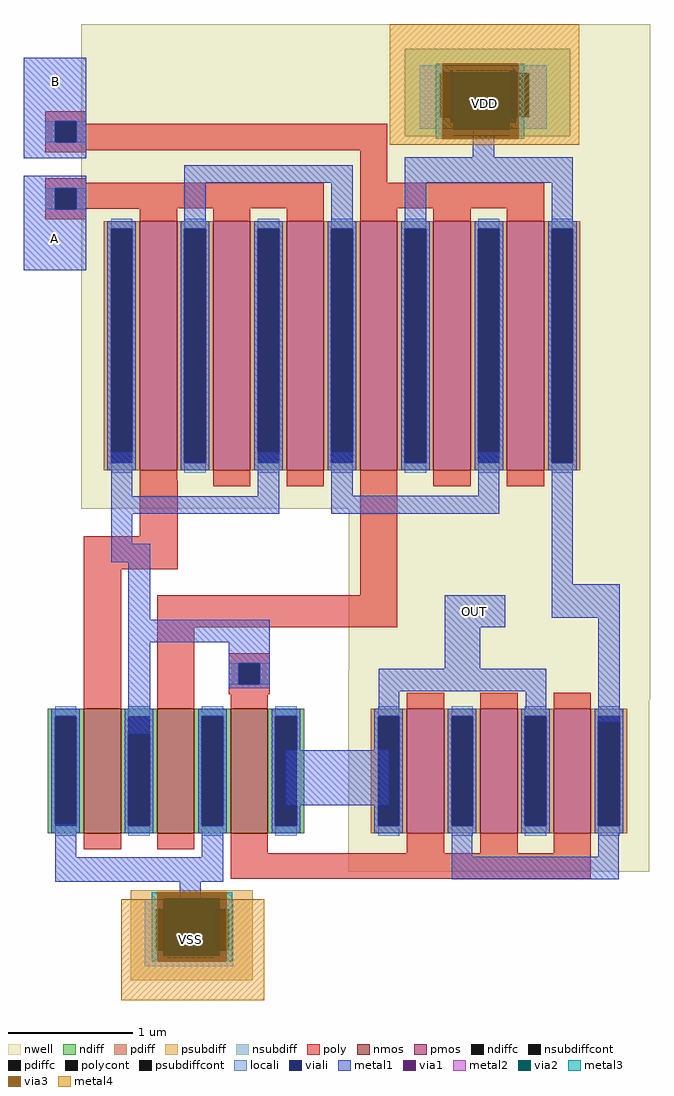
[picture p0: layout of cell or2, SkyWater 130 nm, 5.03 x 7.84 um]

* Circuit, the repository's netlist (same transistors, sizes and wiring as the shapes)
** sch_path: /mnt/c/Users/DRC/Desktop/elec/4th/4th_fall/elec451/final_project/design/xschem/or2.sch
.subckt or2 A B VSS VDD OUT
*.PININFO A:I B:I VSS:B VDD:B OUT:O
XM3 net1 A net2 VDD sky130_fd_pr__pfet_01v8 L=0.30 W=6 nf=3 ad='int((nf+1)/2) * W/nf * 0.29' as='int((nf+2)/2) * W/nf * 0.29'
+ pd='2*int((nf+1)/2) * (W/nf + 0.29)' ps='2*int((nf+2)/2) * (W/nf + 0.29)' nrd='0.29 / W' nrs='0.29 / W'
+ sa=0 sb=0 sd=0 mult=1 m=1
XM4 net2 B VDD VDD sky130_fd_pr__pfet_01v8 L=0.30 W=6 nf=3 ad='int((nf+1)/2) * W/nf * 0.29' as='int((nf+2)/2) * W/nf * 0.29'
+ pd='2*int((nf+1)/2) * (W/nf + 0.29)' ps='2*int((nf+2)/2) * (W/nf + 0.29)' nrd='0.29 / W' nrs='0.29 / W'
+ sa=0 sb=0 sd=0 mult=1 m=1
XM1 net1 A VSS VSS sky130_fd_pr__nfet_01v8 L=0.30 W=1 nf=1 ad='int((nf+1)/2) * W/nf * 0.29' as='int((nf+2)/2) * W/nf * 0.29'
+ pd='2*int((nf+1)/2) * (W/nf + 0.29)' ps='2*int((nf+2)/2) * (W/nf + 0.29)' nrd='0.29 / W' nrs='0.29 / W'
+ sa=0 sb=0 sd=0 mult=1 m=1
XM2 net1 B VSS VSS sky130_fd_pr__nfet_01v8 L=0.30 W=1 nf=1 ad='int((nf+1)/2) * W/nf * 0.29' as='int((nf+2)/2) * W/nf * 0.29'
+ pd='2*int((nf+1)/2) * (W/nf + 0.29)' ps='2*int((nf+2)/2) * (W/nf + 0.29)' nrd='0.29 / W' nrs='0.29 / W'
+ sa=0 sb=0 sd=0 mult=1 m=1
XM5 OUT net1 VDD VDD sky130_fd_pr__pfet_01v8 L=0.30 W=3 nf=3 ad='int((nf+1)/2) * W/nf * 0.29' as='int((nf+2)/2) * W/nf * 0.29'
+ pd='2*int((nf+1)/2) * (W/nf + 0.29)' ps='2*int((nf+2)/2) * (W/nf + 0.29)' nrd='0.29 / W' nrs='0.29 / W'
+ sa=0 sb=0 sd=0 mult=1 m=1
XM6 OUT net1 VSS VSS sky130_fd_pr__nfet_01v8 L=0.30 W=1 nf=1 ad='int((nf+1)/2) * W/nf * 0.29' as='int((nf+2)/2) * W/nf * 0.29'
+ pd='2*int((nf+1)/2) * (W/nf + 0.29)' ps='2*int((nf+2)/2) * (W/nf + 0.29)' nrd='0.29 / W' nrs='0.29 / W'
+ sa=0 sb=0 sd=0 mult=1 m=1
.ends
.end

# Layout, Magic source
magic
tech sky130B
magscale 1 2
<< nwell >>
rect 458 1226 1372 1504
rect 888 418 1372 1226
<< psubdiff >>
rect 538 82 734 112
rect 538 16 578 82
rect 696 16 734 82
rect 538 -32 734 16
<< nsubdiff >>
rect 978 1426 1244 1464
rect 978 1354 1034 1426
rect 1178 1354 1244 1426
rect 978 1324 1244 1354
<< psubdiffcont >>
rect 578 16 696 82
<< nsubdiffcont >>
rect 1034 1354 1178 1426
<< poly >>
rect 400 1348 466 1364
rect 400 1314 416 1348
rect 450 1344 466 1348
rect 450 1314 950 1344
rect 400 1301 950 1314
rect 400 1298 466 1301
rect 400 1249 466 1256
rect 906 1249 950 1301
rect 400 1240 848 1249
rect 400 1206 416 1240
rect 450 1208 848 1240
rect 906 1208 1202 1249
rect 450 1207 584 1208
rect 450 1206 466 1207
rect 400 1190 466 1206
rect 552 681 613 770
rect 462 628 613 681
rect 462 410 522 628
rect 906 586 966 771
rect 580 535 966 586
rect 580 408 640 535
rect 695 477 761 493
rect 695 443 711 477
rect 745 443 761 477
rect 695 427 761 443
rect 698 172 758 194
rect 981 172 1041 194
rect 1099 172 1159 194
rect 1217 172 1277 194
rect 698 131 1277 172
<< polycont >>
rect 416 1314 450 1348
rect 416 1206 450 1240
rect 711 443 745 477
<< locali >>
rect 1002 1426 1206 1438
rect 1002 1354 1034 1426
rect 1178 1354 1206 1426
rect 1002 1352 1064 1354
rect 1144 1352 1206 1354
rect 400 1314 416 1348
rect 450 1314 466 1348
rect 1002 1336 1206 1352
rect 400 1206 416 1240
rect 450 1206 466 1240
rect 695 443 711 477
rect 745 443 761 477
rect 560 86 702 98
rect 560 82 600 86
rect 666 82 702 86
rect 560 16 578 82
rect 696 16 702 82
rect 560 -10 702 16
<< viali >>
rect 1064 1354 1144 1424
rect 1064 1352 1144 1354
rect 416 1314 450 1348
rect 416 1206 450 1240
rect 711 443 745 477
rect 600 82 666 86
rect 600 16 666 82
<< metal1 >>
rect 366 1348 466 1450
rect 366 1314 416 1348
rect 450 1314 466 1348
rect 1052 1424 1156 1430
rect 1052 1352 1064 1424
rect 1144 1352 1156 1424
rect 1052 1346 1156 1352
rect 366 1288 466 1314
rect 1087 1290 1122 1346
rect 366 1240 466 1260
rect 366 1206 416 1240
rect 450 1206 466 1240
rect 366 1108 466 1206
rect 624 1249 894 1277
rect 624 1184 658 1249
rect 860 1184 894 1249
rect 978 1249 1248 1290
rect 978 1180 1012 1249
rect 1214 1180 1248 1249
rect 506 745 540 816
rect 742 745 776 816
rect 506 717 776 745
rect 860 746 894 816
rect 1096 746 1130 816
rect 860 717 1130 746
rect 506 669 540 717
rect 506 639 569 669
rect 534 547 569 639
rect 1214 604 1248 788
rect 534 511 761 547
rect 534 364 569 511
rect 695 477 761 511
rect 695 443 711 477
rect 745 443 761 477
rect 1042 535 1139 586
rect 1214 550 1323 604
rect 1042 468 1099 535
rect 695 437 761 443
rect 936 432 1205 468
rect 936 394 969 432
rect 1172 397 1205 432
rect 1289 383 1323 550
rect 787 249 952 337
rect 416 165 450 218
rect 652 165 686 214
rect 416 126 686 165
rect 1053 166 1086 213
rect 1289 166 1322 213
rect 1053 130 1322 166
rect 616 98 650 126
rect 594 86 672 98
rect 594 16 600 86
rect 666 16 672 86
rect 594 4 672 16
<< via1 >>
rect 1078 1353 1130 1405
rect 607 29 659 81
<< metal2 >>
rect 1056 1426 1146 1436
rect 1056 1325 1146 1335
rect 591 99 681 109
rect 591 -2 681 8
<< via2 >>
rect 1056 1405 1146 1426
rect 1056 1353 1078 1405
rect 1078 1353 1130 1405
rect 1130 1353 1146 1405
rect 1056 1335 1146 1353
rect 591 81 681 99
rect 591 29 607 81
rect 607 29 659 81
rect 659 29 681 81
rect 591 8 681 29
<< metal3 >>
rect 1028 1320 1038 1440
rect 1160 1320 1170 1440
rect 571 -2 581 109
rect 691 -2 701 109
<< via3 >>
rect 1038 1426 1160 1440
rect 1038 1335 1056 1426
rect 1056 1335 1146 1426
rect 1146 1335 1160 1426
rect 1038 1320 1160 1335
rect 581 99 691 109
rect 581 8 591 99
rect 591 8 681 99
rect 681 8 691 99
rect 581 -2 691 8
<< metal4 >>
rect 954 1440 1258 1504
rect 954 1320 1038 1440
rect 1160 1320 1258 1440
rect 954 1310 1258 1320
rect 580 109 692 110
rect 580 98 581 109
rect 522 -2 581 98
rect 691 98 692 109
rect 691 -2 752 98
rect 522 -64 752 -2
use sky130_fd_pr__nfet_01v8_CLVMSK  sky130_fd_pr__nfet_01v8_CLVMSK_0
transform 1 0 610 0 1 304
box -206 -126 206 126
use sky130_fd_pr__pfet_01v8_6C4S85  sky130_fd_pr__pfet_01v8_6C4S85_0
transform 1 0 877 0 1 987
box -419 -262 419 262
use sky130_fd_pr__pfet_01v8_A6QCZ3  sky130_fd_pr__pfet_01v8_A6QCZ3_0
transform 1 0 1129 0 1 304
box -242 -162 242 162
<< labels >>
flabel metal1 1049 541 1132 580 1 FreeSans 240 0 0 0 OUT
port 6 n
flabel metal4 1024 1320 1188 1432 1 FreeSerif 560 0 0 0 VDD
port 9 n
flabel metal4 548 -22 720 88 1 FreeSerif 560 0 0 0 VSS
port 10 n
flabel metal1 366 1110 464 1208 1 FreeSerif 480 0 0 0 A
port 14 n
flabel metal1 368 1378 466 1446 1 FreeSerif 480 0 0 0 B
port 15 n
<< end >>

# cell sky130_fd_pr__nfet_01v8_CLVMSK: kit device sky130_fd_pr__nfet_01v8, w 1 l 0.3 m 1 nf 3 diffcov 100 polycov 100 guard 0 glc 1 grc 1 gtc 1 gbc 1 tbcov 100 rlcov 100 topc 0 botc 0 poverlap 0 doverlap 1 lmin 0.15 wmin 0.42 compatible {sky130_fd_pr__nfet_01v8 sky130_fd_pr__nfet_01v8_lvt sky130_fd_bs_flash__special_sonosfet_star sky130_fd_pr__nfet_g5v0d10v5 sky130_fd_pr__nfet_05v0_nvt sky130_fd_pr__nfet_03v3_nvt} full_metal 1 viasrc 100 viadrn 100 viagate 100 viagb 0 viagr 0 viagl 0 viagt 0

# cell sky130_fd_pr__pfet_01v8_6C4S85: kit device sky130_fd_pr__pfet_01v8, w 2 l 0.3 m 1 nf 6 diffcov 100 polycov 100 guard 0 glc 1 grc 1 gtc 1 gbc 1 tbcov 100 rlcov 100 topc 0 botc 0 poverlap 0 doverlap 1 lmin 0.15 wmin 0.42 compatible {sky130_fd_pr__pfet_01v8 sky130_fd_pr__pfet_01v8_lvt sky130_fd_pr__pfet_01v8_hvt sky130_fd_pr__pfet_g5v0d10v5} full_metal 1 viasrc 100 viadrn 100 viagate 100 viagb 0 viagr 0 viagl 0 viagt 0

# cell sky130_fd_pr__pfet_01v8_A6QCZ3: kit device sky130_fd_pr__pfet_01v8, w 1 l 0.3 m 1 nf 3 diffcov 100 polycov 100 guard 0 glc 1 grc 1 gtc 1 gbc 1 tbcov 100 rlcov 100 topc 0 botc 0 poverlap 0 doverlap 1 lmin 0.15 wmin 0.42 compatible {sky130_fd_pr__pfet_01v8 sky130_fd_pr__pfet_01v8_lvt sky130_fd_pr__pfet_01v8_hvt sky130_fd_pr__pfet_g5v0d10v5} full_metal 1 viasrc 100 viadrn 100 viagate 100 viagb 0 viagr 0 viagl 0 viagt 0
